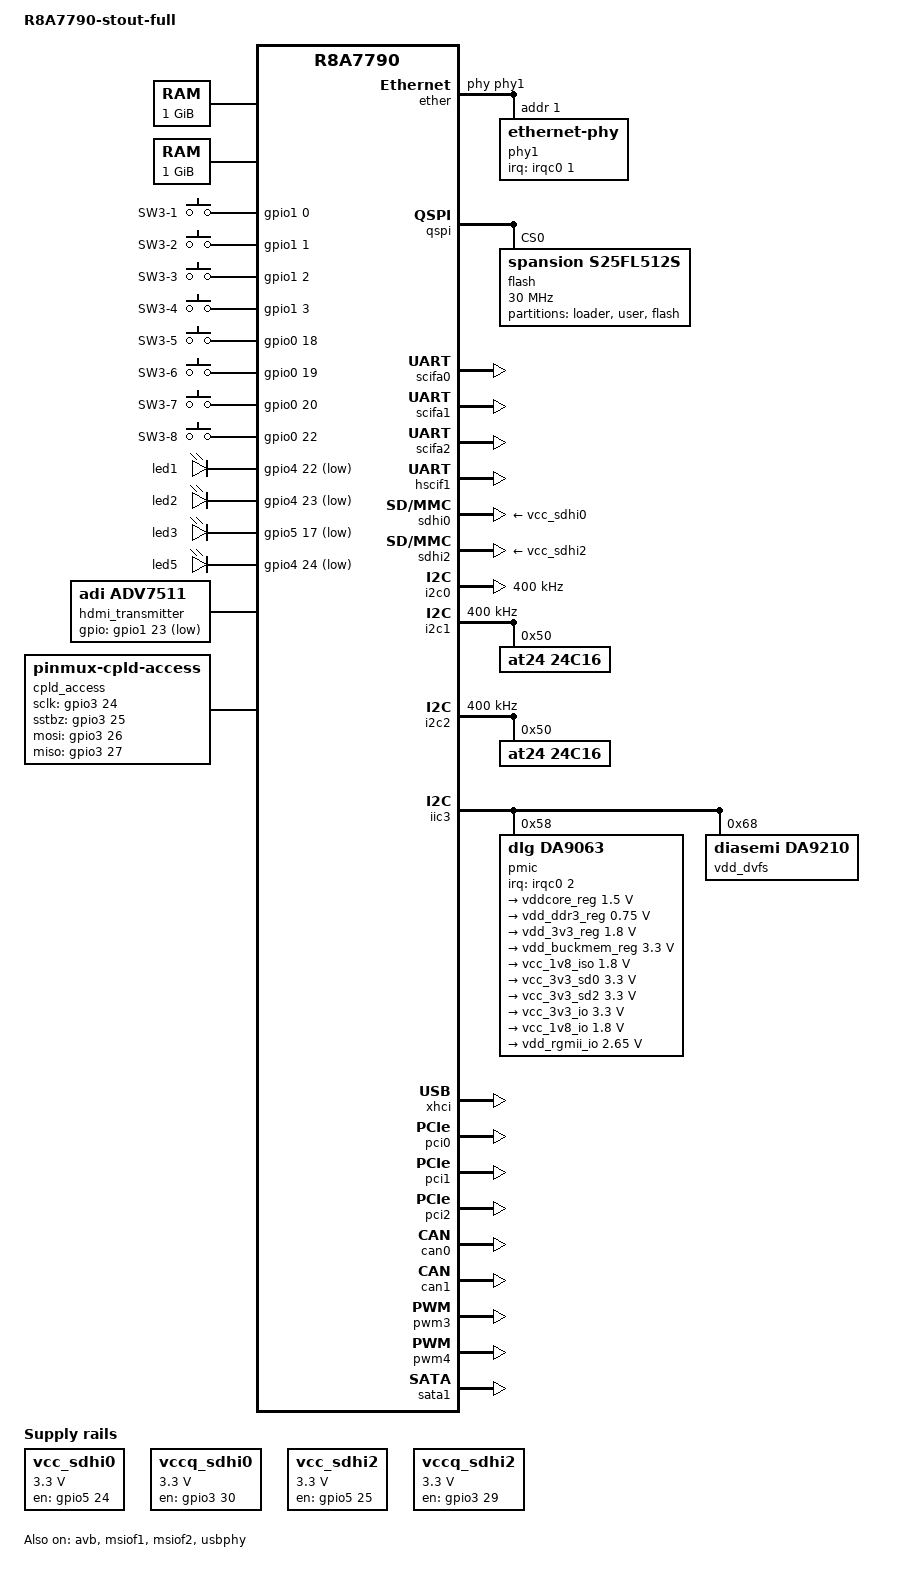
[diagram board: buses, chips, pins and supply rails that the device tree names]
/*
 * Device Tree Source for the R8A7790-stout-full board
 *
 * Copyright (C) 2015 Renesas Electronics Europe GmbH
 * Copyright (C) 2015 Renesas Electronics Corporation
 * Copyright (C) 2015 Cogent Embedded, Inc.
 *
 * This file is licensed under the terms of the GNU General Public License
 * version 2.  This program is licensed "as is" without any warranty of any
 * kind, whether express or implied.
 */

/dts-v1/;
#include "r8a7790.dtsi"
#include <dt-bindings/gpio/gpio.h>
#include <dt-bindings/input/input.h>

/ {
	model = "R8A7790-stout-full";
	compatible = "renesas,r8a7790stout-full", "renesas,r8a7790";

	aliases {
		serial0 = &scifa0;
		serial1 = &scifa1;
		serial2 = &scifa2;
		serial9 = &hscif1;
	};

	chosen {
		bootargs = "dom0_mem=1G console=dtuart dtuart=serial0 dom0_vcpus_pin hmp-unsafe=true dom0_max_vcpus=8 bootscrub=0 loglvl=all";
		/* Uncomment this when using nfs as a boot device */
		xen,dom0-bootargs = "console=hvc0 ignore_loglevel rw root=/dev/nfs nfsroot=192.168.1.100:/srv/stout,nfsvers=3 ip=192.168.1.10:192.168.1.100::255.255.255.0:stout:eth1::: vmalloc=256M clk_ignore_unused apmu=multicluster";
		/* Uncomment this when using block device as a boot device */
		/* xen,dom0-bootargs = "console=hvc0 ignore_loglevel rw root=/dev/mmcblk0p1 rootfstype=ext3 rootwait vmalloc=256M clk_ignore_unused apmu=multicluster"; */

		modules {
			#address-cells = <2>;
			#size-cells = <2>;
			module@1 {
				compatible = "xen,linux-zimage", "xen,multiboot-module";
				reg = <0x0 0x72000000 0x0 0x02000000>;
			};
			module@2 {
				compatible = "xen,xsm-policy", "xen,multiboot-module";
				reg = <0x0 0x74000000 0x0 0x10000>;
			};
		};
	};

	memory@40000000 {
		device_type = "memory";
		reg = <0 0x40000000 0 0x40000000>;
	};

	memory@200000000 {
		device_type = "memory";
		reg = <2 0x00000000 0 0x40000000>;
	};

	dummy_mmios {
		reg = <0 0xe6160000 0 0x100>,   /* RST */
			  <0 0xe6180000 0 0x200>,   /* SYSC */
			  <0 0xe6080000 0 0x1000>,  /* arch timer */
			  <0 0xe6151000 0 0x188>,   /* APMU */
			  <0 0xe6152000 0 0x188>,
			  <0 0xe63a0000 0 0x12000>, /* ICRAM0 */
			  <0 0xe63c0000 0 0x1000>,  /* ICRAM1 */
			  <0 0xe6700000 0 0x20000>, /* DMAC0 */
			  <0 0xe6720000 0 0x20000>, /* DMAC1 */
			  <0 0xff000044 0 0x4>,     /* PRR */
			  <0 0xe6ef0000 0 0x1000>,  /* VIN0 */
			  <0 0xe6ef1000 0 0x1000>,  /* VIN1 */
			  <0 0xe6ef2000 0 0x1000>,  /* VIN2 */
			  <0 0xe6ef3000 0 0x1000>,  /* VIN3 */
			  <0 0xfe920000 0 0x8000>,  /* VSPR */
			  <0 0xfe928000 0 0x8000>,  /* VSPS */
			  <0 0xfe930000 0 0x8000>,  /* VSPD0 */
			  <0 0xfe938000 0 0x8000>,  /* VSPD1 */
			  <0 0xfeb00000 0 0x70000>, /* DU */
			  <0 0xfeb90000 0 0x1c>,
			  <0 0xfeb94000 0 0x1c>,
			  <0 0xfd000000 0 0x10000>, /* 3DG */
			  <0 0xfea00000 0 0xb0000>, /* 2D-DMAC */
			  <0 0xf0090000 0 0x8000>;  /* CCI */
	};

	dummy_irqs {
		interrupts = <0 107 IRQ_TYPE_LEVEL_HIGH>, /* HSUSB */
					 <0 188 IRQ_TYPE_LEVEL_HIGH>, /* VIN0 */
					 <0 189 IRQ_TYPE_LEVEL_HIGH>, /* VIN1 */
					 <0 190 IRQ_TYPE_LEVEL_HIGH>, /* VIN2 */
					 <0 191 IRQ_TYPE_LEVEL_HIGH>, /* VIN3 */
					 <0 119 IRQ_TYPE_LEVEL_HIGH>, /* 3DG */
					 <0 246 IRQ_TYPE_LEVEL_HIGH>, /* VSPD0 */
					 <0 247 IRQ_TYPE_LEVEL_HIGH>, /* VSPD1 */
					 <0 256 IRQ_TYPE_LEVEL_HIGH>, /* DU */
					 <0 268 IRQ_TYPE_LEVEL_HIGH>,
					 <0 269 IRQ_TYPE_LEVEL_HIGH>,
					 <0 258 IRQ_TYPE_LEVEL_HIGH>, /* VCP3_VLC ch.0 */
					 <0 259 IRQ_TYPE_LEVEL_HIGH>, /* VCP3_CE ch.0 */
					 <0 260 IRQ_TYPE_LEVEL_HIGH>, /* VCP3_VLC ch.1 */
					 <0 261 IRQ_TYPE_LEVEL_HIGH>, /* VCP3_CE ch.1 */
					 <0 262 IRQ_TYPE_LEVEL_HIGH>, /* FDP1 ch.0 */
					 <0 263 IRQ_TYPE_LEVEL_HIGH>, /* FDP1 ch.1 */
					 <0 264 IRQ_TYPE_LEVEL_HIGH>, /* FDP1 ch.2 */
					 <0 266 IRQ_TYPE_LEVEL_HIGH>, /* VSPR */
					 <0 267 IRQ_TYPE_LEVEL_HIGH>, /* VSPS */
					 <0 285 IRQ_TYPE_LEVEL_HIGH>, /* 2D-DMAC */
					 <0 197 IRQ_TYPE_LEVEL_HIGH>, /* DMAC0 */
					 <0 200 IRQ_TYPE_LEVEL_HIGH>, /* DMAC0 */
					 <0 201 IRQ_TYPE_LEVEL_HIGH>, /* DMAC0 */
					 <0 202 IRQ_TYPE_LEVEL_HIGH>, /* DMAC0 */
					 <0 203 IRQ_TYPE_LEVEL_HIGH>, /* DMAC0 */
					 <0 204 IRQ_TYPE_LEVEL_HIGH>, /* DMAC0 */
					 <0 205 IRQ_TYPE_LEVEL_HIGH>, /* DMAC0 */
					 <0 206 IRQ_TYPE_LEVEL_HIGH>, /* DMAC0 */
					 <0 207 IRQ_TYPE_LEVEL_HIGH>, /* DMAC0 */
					 <0 208 IRQ_TYPE_LEVEL_HIGH>, /* DMAC0 */
					 <0 209 IRQ_TYPE_LEVEL_HIGH>, /* DMAC0 */
					 <0 210 IRQ_TYPE_LEVEL_HIGH>, /* DMAC0 */
					 <0 211 IRQ_TYPE_LEVEL_HIGH>, /* DMAC0 */
					 <0 212 IRQ_TYPE_LEVEL_HIGH>, /* DMAC0 */
					 <0 213 IRQ_TYPE_LEVEL_HIGH>, /* DMAC0 */
					 <0 214 IRQ_TYPE_LEVEL_HIGH>, /* DMAC0 */
					 <0 216 IRQ_TYPE_LEVEL_HIGH>, /* DMAC1 */
					 <0 217 IRQ_TYPE_LEVEL_HIGH>, /* DMAC1 */
					 <0 218 IRQ_TYPE_LEVEL_HIGH>, /* DMAC1 */
					 <0 219 IRQ_TYPE_LEVEL_HIGH>, /* DMAC1 */
					 <0 220 IRQ_TYPE_LEVEL_HIGH>, /* DMAC1 */
					 <0 308 IRQ_TYPE_LEVEL_HIGH>, /* DMAC1 */
					 <0 309 IRQ_TYPE_LEVEL_HIGH>, /* DMAC1 */
					 <0 310 IRQ_TYPE_LEVEL_HIGH>, /* DMAC1 */
					 <0 311 IRQ_TYPE_LEVEL_HIGH>, /* DMAC1 */
					 <0 312 IRQ_TYPE_LEVEL_HIGH>, /* DMAC1 */
					 <0 313 IRQ_TYPE_LEVEL_HIGH>, /* DMAC1 */
					 <0 314 IRQ_TYPE_LEVEL_HIGH>, /* DMAC1 */
					 <0 315 IRQ_TYPE_LEVEL_HIGH>, /* DMAC1 */
					 <0 316 IRQ_TYPE_LEVEL_HIGH>, /* DMAC1 */
					 <0 317 IRQ_TYPE_LEVEL_HIGH>, /* DMAC1 */
					 <0 318 IRQ_TYPE_LEVEL_HIGH>; /* DMAC1 */
	};

	lbsc {
		#address-cells = <1>;
		#size-cells = <1>;
	};

	gpio-keys {
		compatible = "gpio-keys";

		button@1 {
			linux,code = <KEY_1>;
			label = "SW3-1";
			gpio-key,wakeup;
			debounce-interval = <20>;
			gpios = <&gpio1 0 GPIO_ACTIVE_HIGH>;
		};
		button@2 {
			linux,code = <KEY_2>;
			label = "SW3-2";
			gpio-key,wakeup;
			debounce-interval = <20>;
			gpios = <&gpio1 1 GPIO_ACTIVE_HIGH>;
		};
		button@3 {
			linux,code = <KEY_3>;
			label = "SW3-3";
			gpio-key,wakeup;
			debounce-interval = <20>;
			gpios = <&gpio1 2 GPIO_ACTIVE_HIGH>;
		};
		button@4 {
			linux,code = <KEY_4>;
			label = "SW3-4";
			gpio-key,wakeup;
			debounce-interval = <20>;
			gpios = <&gpio1 3 GPIO_ACTIVE_HIGH>;
		};
		button@5 {
			linux,code = <KEY_5>;
			label = "SW3-5";
			gpio-key,wakeup;
			debounce-interval = <20>;
			gpios = <&gpio0 18 GPIO_ACTIVE_HIGH>;
		};
		button@6 {
			linux,code = <KEY_6>;
			label = "SW3-6";
			gpio-key,wakeup;
			debounce-interval = <20>;
			gpios = <&gpio0 19 GPIO_ACTIVE_HIGH>;
		};
		button@7 {
			linux,code = <KEY_7>;
			label = "SW3-7";
			gpio-key,wakeup;
			debounce-interval = <20>;
			gpios = <&gpio0 20 GPIO_ACTIVE_HIGH>;
		};
		button@8 {
			linux,code = <KEY_8>;
			label = "SW3-8";
			gpio-key,wakeup;
			debounce-interval = <20>;
			gpios = <&gpio0 22 GPIO_ACTIVE_HIGH>;
		};
	};

	leds {
		compatible = "gpio-leds";
		led1 {
			gpios = <&gpio4 22 GPIO_ACTIVE_LOW>;
		};
		led2 {
			gpios = <&gpio4 23 GPIO_ACTIVE_LOW>;
		};
		led3 {
			gpios = <&gpio5 17 GPIO_ACTIVE_LOW>;
		};
		led5 {
			gpios = <&gpio4 24 GPIO_ACTIVE_LOW>;
		};
	};

	vcc_sdhi0: regulator@1 {
		compatible = "regulator-fixed";

		regulator-name = "SDHI0 Vcc";
		regulator-min-microvolt = <3300000>;
		regulator-max-microvolt = <3300000>;

		gpio = <&gpio5 24 GPIO_ACTIVE_HIGH>;
		enable-active-high;
	};

	vccq_sdhi0: regulator@2 {
		compatible = "regulator-fixed";

		regulator-name = "SDHI0 VccQ";
		regulator-min-microvolt = <3300000>;
		regulator-max-microvolt = <3300000>;

		gpio = <&gpio3 30 GPIO_ACTIVE_HIGH>;
		enable-active-high;
	};

	vcc_sdhi2: regulator@3 {
		compatible = "regulator-fixed";

		regulator-name = "SDHI2 Vcc";
		regulator-min-microvolt = <3300000>;
		regulator-max-microvolt = <3300000>;

		gpio = <&gpio5 25 GPIO_ACTIVE_HIGH>;
		enable-active-high;
	};

	vccq_sdhi2: regulator@4 {
		compatible = "regulator-fixed";

		regulator-name = "SDHI2 VccQ";
		regulator-min-microvolt = <3300000>;
		regulator-max-microvolt = <3300000>;

		gpio = <&gpio3 29 GPIO_ACTIVE_HIGH>;
		enable-active-high;
	};

	hdmi_transmitter: adv7511 {
		compatible = "adi,adv7511";
		gpios = <&gpio1 23 GPIO_ACTIVE_LOW>;

		adi,reg = <0x39>;
		adi,input-style = <0x02>;
		adi,input-id = <0x00>;
		adi,input-color-depth = <0x03>;
		adi,sync-pulse = <0x03>;
		adi,bit-justification = <0x01>;
		adi,up-conversion = <0x00>;
		adi,timing-generation-sequence = <0x00>;
		adi,vsync-polarity = <0x02>;
		adi,hsync-polarity = <0x02>;
		adi,clock-delay = <0x03>;
	};

	cpld_access: cpld {
		compatible = "pinmux-cpld-access";

		pinmux-cpld-access,sclk-gpio = <&gpio3 24 GPIO_ACTIVE_HIGH>;
		pinmux-cpld-access,sstbz-gpio = <&gpio3 25 GPIO_ACTIVE_HIGH>;
		pinmux-cpld-access,mosi-gpio = <&gpio3 26 GPIO_ACTIVE_HIGH>;
		pinmux-cpld-access,miso-gpio = <&gpio3 27 GPIO_ACTIVE_HIGH>;
	};

	cpld_mux1: mux@1 {
		compatible = "pinmux-cpld";
		pinctrl-names = "vin0_bt656_state", "vin0_bt601_state", "sdhi2_state";
		pinctrl-0 = <&vin0_bt656_pins>;
		pinctrl-1 = <&vin0_bt601_pins>;
		pinctrl-2 = <&sdhi2_pins>;

		cpldmux-0 = <0x1001 0x0>; /* mask val */
		cpldmux-1 = <0x1007 0x2>;
		cpldmux-2 = <0x1001 0x1000>;
	};

	cpld_mux2: mux@2 {
		compatible = "pinmux-cpld";
		pinctrl-names = "vin1_bt656_state", "vin1_bt601_state", "sdhi0_state";
		pinctrl-0 = <&vin1_bt656_pins &i2c1_pins>;
		pinctrl-1 = <&vin1_bt601_pins>;
		pinctrl-2 = <&sdhi0_pins &i2c1_pins>;

		cpldmux-0 = <0x861 0x860>; /* mask val */
		cpldmux-1 = <0x821 0x800>;
		cpldmux-2 = <0x861 0x60>;
	};

	cpld_mux3: mux@3 {
		compatible = "pinmux-cpld";
		pinctrl-names = "vin2_bt656_state", "vin2_bt601_state", "avb_state";
		pinctrl-0 = <&vin2_bt656_pins &scifa0_pins>;
		pinctrl-1 = <&vin2_bt601_pins>;
		pinctrl-2 = <&avb_pins &scifa0_pins>;

		cpldmux-0 = <0x4087 0x4006>; /* mask val */
		cpldmux-1 = <0xa7 0x86>;
		cpldmux-2 = <0x4083 0x4000>;
	};

	cpld_mux4: mux@4 {
		compatible = "pinmux-cpld";
		pinctrl-names = "vin3_bt656_state", "vin3_bt601_state", "irq3_state";
		pinctrl-0 = <&vin3_bt656_pins>;
		pinctrl-1 = <&vin3_bt601_pins>;
		pinctrl-2 = <>;

		cpldmux-0 = <0x101 0x100>; /* mask val */
		cpldmux-1 = <0x161 0x120>;
		cpldmux-2 = <0x101 0x0>;
	};
};

&extal_clk {
	clock-frequency = <20000000>;
};

&pfc {
	pinctrl-0 = <&du_pins &du0_pins &usb0_pins &usb1_pins &usb2_pins>;
	pinctrl-names = "default";

	du_pins: du {
		renesas,groups = "du_rgb888", "du_sync_1", "du_clk_out_0";
		renesas,function = "du";
	};

	du0_pins: du0 {
		renesas,groups = "du0_clk_in";
		renesas,function = "du0";
	};

	scifa0_pins: serial0 {
		renesas,groups = "scifa0_data_b", "scifa0_clk_b";
		renesas,function = "scifa0";
	};

	scifa1_pins: serial1 {
		renesas,groups = "scifa1_data_b", "scifa1_clk_b";
		renesas,function = "scifa1";
	};

	scifa2_pins: serial2 {
		renesas,groups = "scifa2_data_c", "scifa2_clk_c";
		renesas,function = "scifa2";
	};

	hscif1_pins: serial9 {
		renesas,groups = "hscif1_data_b", "hscif1_clk_b";
		renesas,function = "hscif1";
	};

	ether_pins: ether {
		renesas,groups = "eth_link", "eth_mdio", "eth_rmii";
		renesas,function = "eth";
	};

	phy1_pins: phy1 {
		renesas,groups = "intc_irq1";
		renesas,function = "intc";
	};

	avb_pins: avb {
		renesas,groups = "avb_link", "avb_mdio", "avb_gmii";
		renesas,function = "avb";
	};

	sdhi0_pins: sd0 {
		renesas,groups = "sdhi0_data4", "sdhi0_ctrl", "sdhi0_cd";
		renesas,function = "sdhi0";
	};

	sdhi2_pins: sd2 {
		renesas,groups = "sdhi2_data4", "sdhi2_ctrl", "sdhi2_cd";
		renesas,function = "sdhi2";
	};

	qspi_pins: spi0 {
		renesas,groups = "qspi_ctrl", "qspi_data4";
		renesas,function = "qspi";
	};

	msiof1_pins: spi2 {
		renesas,groups = "msiof1_clk", "msiof1_sync", "msiof1_rx",
				 "msiof1_tx", "msiof1_ss1", "msiof1_ss2";
		renesas,function = "msiof1";
	};

	msiof2_pins: spi3 {
		renesas,groups = "msiof2_clk", "msiof2_sync", "msiof2_rx",
				 "msiof2_tx", "msiof2_ss1", "msiof2_ss2";
		renesas,function = "msiof2";
	};

	i2c0_pins: i2c0 {
		renesas,groups = "i2c0";
		renesas,function = "i2c0";
	};

	i2c1_pins: i2c1 {
		renesas,groups = "i2c1";
		renesas,function = "i2c1";
	};

	i2c2_pins: i2c2 {
		renesas,groups = "i2c2_b";
		renesas,function = "i2c2";
	};

	iic3_pins: iic3 {
		renesas,groups = "iic3";
		renesas,function = "iic3";
	};

	vin0_bt656_pins: vin0 {
		renesas,groups = "vin0_b_data8", "vin0_clk_b";
		renesas,function = "vin0";
	};

	vin0_bt601_pins: vin0_sync {
		renesas,groups = "vin0_b_data10", "vin0_sync_b", "vin0_clk_b";
		renesas,function = "vin0";
	};

	vin1_bt656_pins: vin1 {
		renesas,groups = "vin1_b_data8", "vin1_clk_b";
		renesas,function = "vin1";
	};

	vin1_bt601_pins: vin1_sync {
		renesas,groups = "vin1_b_data10", "vin1_sync_b", "vin1_clk_b";
		renesas,function = "vin1";
	};

	vin2_bt656_pins: vin2 {
		renesas,groups = "vin2_data8", "vin2_clk";
		renesas,function = "vin2";
	};

	vin2_bt601_pins: vin2_sync {
		renesas,groups = "vin2_data8", "vin2_sync", "vin2_clk";
		renesas,function = "vin2";
	};

	vin3_bt656_pins: vin3 {
		renesas,groups = "vin3_data8", "vin3_clk";
		renesas,function = "vin3";
	};

	vin3_bt601_pins: vin3_sync {
		renesas,groups = "vin3_data8", "vin3_sync", "vin3_clk";
		renesas,function = "vin3";
	};

	usb0_pins: usb0 {
		renesas,groups = "usb0", "usb0_ovc_vbus";
		renesas,function = "usb0";
	};

	usb1_pins: usb1 {
		renesas,groups = "usb1";
		renesas,function = "usb1";
	};

	usb2_pins: usb2 {
		renesas,groups = "usb2";
		renesas,function = "usb2";
	};

	can0_pins: can0 {
		renesas,groups = "can0_data_b";
		renesas,function = "can0";
	};

	can1_pins: can1 {
		renesas,groups = "can1_data_b";
		renesas,function = "can1";
	};

	pwm0_pins: pwm0 {
		renesas,groups = "pwm0";
		renesas,function = "pwm0";
	};

	pwm1_pins: pwm1 {
		renesas,groups = "pwm1";
		renesas,function = "pwm1";
	};

	pwm2_pins: pwm2 {
		renesas,groups = "pwm2";
		renesas,function = "pwm2";
	};

	pwm3_pins: pwm3 {
		renesas,groups = "pwm3";
		renesas,function = "pwm3";
	};

	pwm4_pins: pwm4 {
		renesas,groups = "pwm4";
		renesas,function = "pwm4";
	};
};

&ether {
	pinctrl-0 = <&ether_pins &phy1_pins>;
	pinctrl-names = "default";

	phy-handle = <&phy1>;
	renesas,ether-link-active-low;
	status = "okay";

	phy1: ethernet-phy@1 {
		reg = <1>;
		interrupt-parent = <&irqc0>;
		interrupts = <1 IRQ_TYPE_LEVEL_LOW>;
		micrel,led-mode = <1>;
	};
};

&avb {
/*
	pinctrl-0 = <&avb_pins>;
	pinctrl-names = "default";
*/

	renesas,no-ether-link;
	renesas,phy = <4>;
	renesas,phy_alt = <0>;
	phy-int-gpio = <&gpio2 15 GPIO_ACTIVE_LOW>;
	status = "okay";
};

&qspi {
	pinctrl-0 = <&qspi_pins>;
	pinctrl-names = "default";

	status = "okay";

	flash: flash@0 {
		#address-cells = <1>;
		#size-cells = <1>;
		compatible = "spansion,s25fl512s";
		reg = <0>;
		spi-max-frequency = <30000000>;
		spi-tx-bus-width = <4>;
		spi-rx-bus-width = <4>;
		m25p,fast-read;
		spi-cpol;
		spi-cpha;

		partition@0 {
			label = "loader";
			reg = <0x00000000 0x00080000>;
			read-only;
		};
		partition@40000 {
			label = "user";
			reg = <0x00080000 0x00580000>;
			read-only;
		};
		partition@440000 {
			label = "flash";
			reg = <0x00600000 0x03a00000>;
		};
	};
};

&msiof1 {
	pinctrl-0 = <&msiof1_pins>;
	pinctrl-names = "default";
	status = "okay";
	cs-gpios = <&gpio4 9 0>;
};

&msiof2 {
	pinctrl-0 = <&msiof2_pins>;
	pinctrl-names = "default";
	status = "okay";
	cs-gpios = <&gpio0 26 0>;
};

&scifa0 {
/*
	pinctrl-0 = <&scifa0_pins>;
	pinctrl-names = "default";
*/

	/delete-property/clocks;

	status = "okay";
};

&scifa1 {
	pinctrl-0 = <&scifa1_pins>;
	pinctrl-names = "default";
	status = "okay";
};

&scifa2 {
	pinctrl-0 = <&scifa2_pins>;
	pinctrl-names = "default";
	status = "okay";
};

&hscif1 {
	pinctrl-0 = <&hscif1_pins>;
	pinctrl-names = "default";
	status = "okay";
};

&sdhi0 {
/*
	pinctrl-0 = <&sdhi0_pins>;
	pinctrl-names = "default";
*/

	vmmc-supply = <&vcc_sdhi0>;
	vqmmc-supply = <&vccq_sdhi0>;
	status = "okay";
};

&sdhi2 {
/*
	pinctrl-0 = <&sdhi2_pins>;
	pinctrl-names = "default";
*/

	vmmc-supply = <&vcc_sdhi2>;
	vqmmc-supply = <&vccq_sdhi2>;
	status = "okay";
};

&cpu0 {
	cpu0-supply = <&vdd_dvfs>;
};

&i2c0 {
	pinctrl-0 = <&i2c0_pins>;
	pinctrl-names = "default";

	clock-frequency = <400000>;
	status = "okay";
};

&i2c1 {
/*
	pinctrl-0 = <&i2c1_pins>;
	pinctrl-names = "default";
*/

	clock-frequency = <400000>;
	status = "okay";

	at24@50 {
		compatible = "at24,24c16";
		pagesize = <16>;
		reg = <0x50>;
	};
};

&i2c2 {
	pinctrl-0 = <&i2c2_pins>;
	pinctrl-names = "default";

	clock-frequency = <400000>;
	status = "okay";

	at24@50 {
		compatible = "at24,24c16";
		pagesize = <16>;
		reg = <0x50>;
	};
};

&iic3 {
	pinctrl-0 = <&iic3_pins>;
	pinctrl-names = "default";
	status = "okay";

	pmic@58 {
		compatible = "dlg,da9063";
		reg = <0x58>;
		interrupt-parent = <&irqc0>;
		interrupts = <2 IRQ_TYPE_LEVEL_LOW>;

		regulators {
			vddcore_reg: bcores-merged {
				regulator-min-microvolt = <1500000>;
				regulator-max-microvolt = <1500000>;
				regulator-always-on;
			};

			vdd_ddr3_reg: bpro {
				regulator-min-microvolt = <750000>;
				regulator-max-microvolt = <750000>;
				regulator-always-on;
			};

			vdd_3v3_reg: bperi {
				regulator-min-microvolt = <1800000>;
				regulator-max-microvolt = <1800000>;
				regulator-always-on;
			};


			vdd_buckmem_reg: bmem-bio-merged {
				regulator-min-microvolt = <3300000>;
				regulator-max-microvolt = <3300000>;
				regulator-always-on;
			};

			vcc_1v8_iso: ldo2 {
				regulator-min-microvolt = <1800000>;
				regulator-max-microvolt = <1800000>;
				regulator-always-on;
			};

			vcc_3v3_sd0: ldo3 {
				regulator-min-microvolt = <3300000>;
				regulator-max-microvolt = <3300000>;
				regulator-always-on;
			};

			vcc_3v3_sd2: ldo4 {
				regulator-min-microvolt = <3300000>;
				regulator-max-microvolt = <3300000>;
				regulator-always-on;
			};

			vcc_3v3_io: ldo5 {
				regulator-min-microvolt = <3300000>;
				regulator-max-microvolt = <3300000>;
				regulator-always-on;
			};

			vcc_1v8_io: ldo7 {
				regulator-min-microvolt = <1800000>;
				regulator-max-microvolt = <1800000>;
				regulator-always-on;
			};

			vdd_rgmii_io: ldo11 {
				regulator-min-microvolt = <2650000>;
				regulator-max-microvolt = <2650000>;
				regulator-boot-on;
				regulator-always-on;
			};
		};

		rtc {
			compatible = "dlg,da9063-rtc";
		};

		wdt {
			compatible = "dlg,da9063-watchdog";
		};
	};

	vdd_dvfs: regulator@68 {
		compatible = "diasemi,da9210";
		reg = <0x68>;

		regulator-min-microvolt = <1000000>;
		regulator-max-microvolt = <1000000>;
		regulator-boot-on;
		regulator-always-on;
	};
};

&usbphy {
	status = "okay";
};

&xhci {
	status = "okay";
};

&pci0 {
	pinctrl-0 = <&usb0_pins>;
	pinctrl-names = "default";
	status = "okay";
};

&pci1 {
	pinctrl-0 = <&usb1_pins>;
	pinctrl-names = "default";
	status = "okay";
};

&pci2 {
	pinctrl-0 = <&usb2_pins>;
	pinctrl-names = "default";
	status = "okay";
};

&pcie_bus_clk {
	status = "okay";
};

&pciec {
	/*status = "okay";*/
};

&can0 {
	pinctrl-0 = <&can0_pins>;
	pinctrl-names = "default";
	renesas,can-clock-select = <0x0>;
	status = "okay";
};

&can1 {
	pinctrl-0 = <&can1_pins>;
	pinctrl-names = "default";
	renesas,can-clock-select = <0x0>;
	status = "okay";
};

/*
&pwm0 {
	pinctrl-0 = <&pwm0_pins>;
	pinctrl-names = "default";
	status = "okay";
};

&pwm1 {
	pinctrl-0 = <&pwm1_pins>;
	pinctrl-names = "default";
	status = "okay";
};

&pwm2 {
	pinctrl-0 = <&pwm2_pins>;
	pinctrl-names = "default";
	status = "okay";
};
*/

&pwm3 {
	pinctrl-0 = <&pwm3_pins>;
	pinctrl-names = "default";
	status = "okay";
};

&pwm4 {
	pinctrl-0 = <&pwm4_pins>;
	pinctrl-names = "default";
	status = "okay";
};

&sata1 {
	status = "okay";
};
